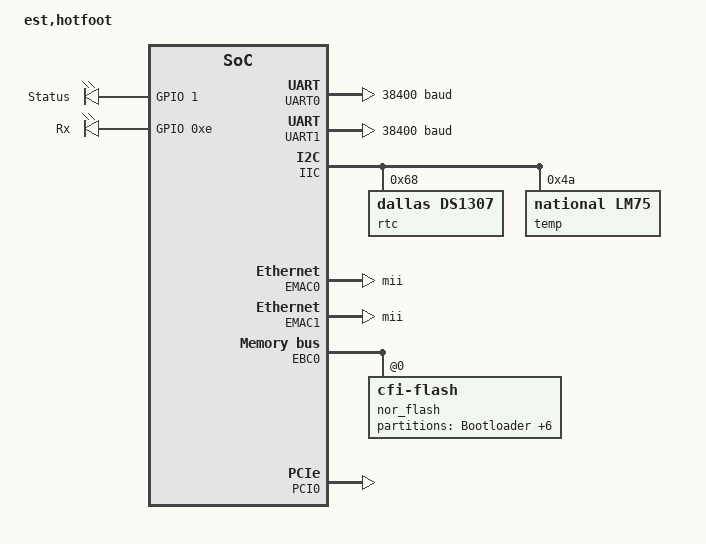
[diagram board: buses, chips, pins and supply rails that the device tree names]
/*
 * Device Tree Source for ESTeem 195E Hotfoot
 *
 * Copyright 2009 AbsoluteValue Systems <solomon@linux-wlan.com>
 *
 * This file is licensed under the terms of the GNU General Public
 * License version 2.  This program is licensed "as is" without
 * any warranty of any kind, whether express or implied.
 */

/dts-v1/;

/ {
	#address-cells = <1>;
	#size-cells = <1>;
	model = "est,hotfoot";
	compatible = "est,hotfoot";
	dcr-parent = <&{/cpus/cpu@0}>;

	aliases {
		ethernet0 = &EMAC0;
		ethernet1 = &EMAC1;
		serial0 = &UART0;
		serial1 = &UART1;
	};

	cpus {
		#address-cells = <1>;
		#size-cells = <0>;

		cpu@0 {
			device_type = "cpu";
			model = "PowerPC,405EP";
			reg = <0x00000000>;
			clock-frequency = <0>; /* Filled in by zImage */
			timebase-frequency = <0>; /* Filled in by zImage */
			i-cache-line-size = <0x20>;
			d-cache-line-size = <0x20>;
			i-cache-size = <0x4000>;
			d-cache-size = <0x4000>;
			dcr-controller;
			dcr-access-method = "native";
		};
	};

	memory {
		device_type = "memory";
		reg = <0x00000000 0x00000000>; /* Filled in by zImage */
	};

	UIC0: interrupt-controller {
		compatible = "ibm,uic";
		interrupt-controller;
		cell-index = <0>;
		dcr-reg = <0x0c0 0x009>;
		#address-cells = <0>;
		#size-cells = <0>;
		#interrupt-cells = <2>;
	};

	plb {
		compatible = "ibm,plb3";
		#address-cells = <1>;
		#size-cells = <1>;
		ranges;
		clock-frequency = <0>; /* Filled in by zImage */

		SDRAM0: memory-controller {
			compatible = "ibm,sdram-405ep";
			dcr-reg = <0x010 0x002>;
		};

		MAL: mcmal {
			compatible = "ibm,mcmal-405ep", "ibm,mcmal";
			dcr-reg = <0x180 0x062>;
			num-tx-chans = <4>;
			num-rx-chans = <2>;
			interrupt-parent = <&UIC0>;
			interrupts = <
				0xb 0x4 /* TXEOB */
				0xc 0x4 /* RXEOB */
				0xa 0x4 /* SERR */
				0xd 0x4 /* TXDE */
				0xe 0x4 /* RXDE */>;
		};

		POB0: opb {
			compatible = "ibm,opb-405ep", "ibm,opb";
			#address-cells = <1>;
			#size-cells = <1>;
			ranges = <0xef600000 0xef600000 0x00a00000>;
			dcr-reg = <0x0a0 0x005>;
			clock-frequency = <0>; /* Filled in by zImage */

			/* Hotfoot has UART0/UART1 swapped */

			UART0: serial@ef600400 {
				device_type = "serial";
				compatible = "ns16550";
				reg = <0xef600400 0x00000008>;
				virtual-reg = <0xef600400>;
				clock-frequency = <0>; /* Filled in by zImage */
				current-speed = <0x9600>;
				interrupt-parent = <&UIC0>;
				interrupts = <0x1 0x4>;
			};

			UART1: serial@ef600300 {
				device_type = "serial";
				compatible = "ns16550";
				reg = <0xef600300 0x00000008>;
				virtual-reg = <0xef600300>;
				clock-frequency = <0>; /* Filled in by zImage */
				current-speed = <0x9600>;
				interrupt-parent = <&UIC0>;
				interrupts = <0x0 0x4>;
			};

			IIC: i2c@ef600500 {
				compatible = "ibm,iic-405ep", "ibm,iic";
				reg = <0xef600500 0x00000011>;
				interrupt-parent = <&UIC0>;
				interrupts = <0x2 0x4>;

				rtc@68 {
					/* Actually a DS1339 */
					compatible = "dallas,ds1307";
					reg = <0x68>;
				};

				temp@4a {
					/* Not present on all boards */
					compatible = "national,lm75";
					reg = <0x4a>;
				};
			};

			GPIO: gpio@ef600700 {
				#gpio-cells = <2>;
				compatible = "ibm,ppc4xx-gpio";
				reg = <0xef600700 0x00000020>;
				gpio-controller;
			};

			gpio-leds {
				compatible = "gpio-leds";
				status {
					label = "Status";
					gpios = <&GPIO 1 0>;
				};
				radiorx {
					label = "Rx";
					gpios = <&GPIO 0xe 0>;
				};
			};

			EMAC0: ethernet@ef600800 {
				linux,network-index = <0x0>;
				device_type = "network";
				compatible = "ibm,emac-405ep", "ibm,emac";
				interrupt-parent = <&UIC0>;
				interrupts = <
					0xf 0x4 /* Ethernet */
					0x9 0x4 /* Ethernet Wake Up */>;
				local-mac-address = [000000000000]; /* Filled in by zImage */
				reg = <0xef600800 0x00000070>;
				mal-device = <&MAL>;
				mal-tx-channel = <0>;
				mal-rx-channel = <0>;
				cell-index = <0>;
				max-frame-size = <0x5dc>;
				rx-fifo-size = <0x1000>;
				tx-fifo-size = <0x800>;
				phy-mode = "mii";
				phy-map = <0x00000000>;
			};

			EMAC1: ethernet@ef600900 {
				linux,network-index = <0x1>;
				device_type = "network";
				compatible = "ibm,emac-405ep", "ibm,emac";
				interrupt-parent = <&UIC0>;
				interrupts = <
					0x11 0x4 /* Ethernet */
					0x9 0x4 /* Ethernet Wake Up */>;
				local-mac-address = [000000000000]; /* Filled in by zImage */
				reg = <0xef600900 0x00000070>;
				mal-device = <&MAL>;
				mal-tx-channel = <2>;
				mal-rx-channel = <1>;
				cell-index = <1>;
				max-frame-size = <0x5dc>;
				rx-fifo-size = <0x1000>;
				tx-fifo-size = <0x800>;
				mdio-device = <&EMAC0>;
				phy-mode = "mii";
				phy-map = <0x0000001>;
			};
		};

		EBC0: ebc {
			compatible = "ibm,ebc-405ep", "ibm,ebc";
			dcr-reg = <0x012 0x002>;
			#address-cells = <2>;
			#size-cells = <1>;

			/* The ranges property is supplied by the bootwrapper
			 * and is based on the firmware's configuration of the
			 * EBC bridge
			 */
			clock-frequency = <0>; /* Filled in by zImage */

			nor_flash@0 {
				compatible = "cfi-flash";
				bank-width = <2>;
				reg = <0x0 0xff800000 0x00800000>;
				#address-cells = <1>;
				#size-cells = <1>;

				/* This mapping is for the 8M flash
				   4M flash has all ofssets -= 4M,
				   and FeatFS partition is not present */
				partition@0 {
					label = "Bootloader";
					reg = <0x7c0000 0x40000>;
					/* read-only; */
				};
				partition@1 {
					label = "Env_and_Config_Primary";
					reg = <0x400000 0x10000>;
				};
				partition@2 {
					label = "Kernel";
					reg = <0x420000 0x100000>;
				};
				partition@3 {
					label = "Filesystem";
					reg = <0x520000 0x2a0000>;
				};
				partition@4 {
					label = "Env_and_Config_Secondary";
					reg = <0x410000 0x10000>;
				};
				partition@5 {
					label = "FeatFS";
					reg = <0x000000 0x400000>;
				};
				partition@6 {
					label = "Bootloader_Env";
					reg = <0x7d0000 0x10000>;
				};
			};
		};

		PCI0: pci@ec000000 {
			device_type = "pci";
			#interrupt-cells = <1>;
			#size-cells = <2>;
			#address-cells = <3>;
			compatible = "ibm,plb405ep-pci", "ibm,plb-pci";
			primary;
			reg = <0xeec00000 0x00000008    /* Config space access */
				0xeed80000 0x00000004    /* IACK */
				0xeed80000 0x00000004    /* Special cycle */
				0xef480000 0x00000040>;  /* Internal registers */

			/* Outbound ranges, one memory and one IO,
			 * later cannot be changed. Chip supports a second
			 * IO range but we don't use it for now
			 */
			ranges = <0x02000000 0x00000000 0x80000000 0x80000000 0x00000000 0x20000000
				0x01000000 0x00000000 0x00000000 0xe8000000 0x00000000 0x00010000>;

			/* Inbound 2GB range starting at 0 */
			dma-ranges = <0x42000000 0x0 0x0 0x0 0x0 0x80000000>;

			interrupt-parent = <&UIC0>;
			interrupt-map-mask = <0xf800 0x0 0x0 0x7>;
			interrupt-map = <
				/* IDSEL 3 -- slot1 (optional) 27/29 A/B IRQ2/4 */
				0x1800 0x0 0x0 0x1 &UIC0 0x1b 0x8
				0x1800 0x0 0x0 0x2 &UIC0 0x1d 0x8

				/* IDSEL 4 -- slot0, 26/28 A/B IRQ1/3 */
				0x2000 0x0 0x0 0x1 &UIC0 0x1a 0x8
				0x2000 0x0 0x0 0x2 &UIC0 0x1c 0x8
				>;
		};
	};

	chosen {
		linux,stdout-path = &UART0;
	};
};
